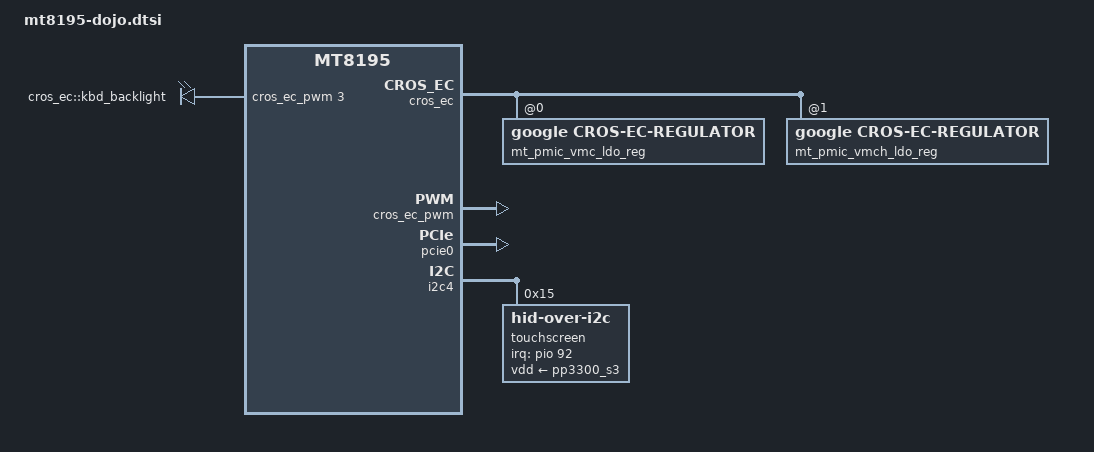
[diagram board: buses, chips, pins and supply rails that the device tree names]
// SPDX-License-Identifier: (GPL-2.0 OR MIT)
/*
 * Copyright (C) 2022 MediaTek Inc.
 */

/ {
	pwmleds {
		compatible = "pwm-leds";
		keyboard_backlight: keyboard-backlight {
			label = "cros_ec::kbd_backlight";
			pwms = <&cros_ec_pwm 3>;
			max-brightness = <1023>;
		};
	};
};

&cros_ec {
	mt_pmic_vmc_ldo_reg: regulator@0 {
		compatible = "google,cros-ec-regulator";
		regulator-min-microvolt = <1200000>;
		regulator-max-microvolt = <3600000>;
		reg = <0>;
	};
	mt_pmic_vmch_ldo_reg: regulator@1 {
		compatible = "google,cros-ec-regulator";
		regulator-min-microvolt = <2700000>;
		regulator-max-microvolt = <3600000>;
		reg = <1>;
	};
};

&cros_ec_pwm {
	status = "okay";
};

&keyboard_controller {
	function-row-physmap = <
		MATRIX_KEY(0x00, 0x02, 0)	/* T1 */
		MATRIX_KEY(0x03, 0x02, 0)	/* T2 */
		MATRIX_KEY(0x02, 0x02, 0)	/* T3 */
		MATRIX_KEY(0x01, 0x02, 0)	/* T4 */
		MATRIX_KEY(0x03, 0x04, 0)	/* T5 */
		MATRIX_KEY(0x02, 0x04, 0)	/* T6 */
		MATRIX_KEY(0x01, 0x04, 0)	/* T7 */
		MATRIX_KEY(0x02, 0x09, 0)	/* T8 */
		MATRIX_KEY(0x01, 0x09, 0)	/* T9 */
		MATRIX_KEY(0x00, 0x04, 0)	/* T10 */
	>;
	linux,keymap = <
		MATRIX_KEY(0x00, 0x02, KEY_BACK)
		MATRIX_KEY(0x03, 0x02, KEY_REFRESH)
		MATRIX_KEY(0x02, 0x02, KEY_ZOOM)
		MATRIX_KEY(0x01, 0x02, KEY_SCALE)
		MATRIX_KEY(0x03, 0x04, KEY_SYSRQ)
		MATRIX_KEY(0x02, 0x04, KEY_BRIGHTNESSDOWN)
		MATRIX_KEY(0x01, 0x04, KEY_BRIGHTNESSUP)
		MATRIX_KEY(0x02, 0x09, KEY_MUTE)
		MATRIX_KEY(0x01, 0x09, KEY_VOLUMEDOWN)
		MATRIX_KEY(0x00, 0x04, KEY_VOLUMEUP)

		CROS_STD_MAIN_KEYMAP
	>;
};

&pcie0 {
	status = "okay";
};

&pio_default{
	low_power_pu_pd_pins {
		pinmux = <PINMUX_GPIO8__FUNC_GPIO8>,
			 <PINMUX_GPIO9__FUNC_GPIO9>,
			 <PINMUX_GPIO25__FUNC_GPIO25>,
			 <PINMUX_GPIO26__FUNC_GPIO26>,
			 <PINMUX_GPIO46__FUNC_GPIO46>,
			 <PINMUX_GPIO47__FUNC_GPIO47>,
			 <PINMUX_GPIO48__FUNC_GPIO48>,
			 <PINMUX_GPIO65__FUNC_GPIO65>,
			 <PINMUX_GPIO66__FUNC_GPIO66>,
			 <PINMUX_GPIO67__FUNC_GPIO67>,
			 <PINMUX_GPIO68__FUNC_GPIO68>,
			 <PINMUX_GPIO128__FUNC_GPIO128>,
			 <PINMUX_GPIO129__FUNC_GPIO129>;
		input-enable;
		bias-pull-down;
	};
};

&i2c4 {
	/delete-node/ touchscreen@10;

	touchscreen: touchscreen@15 {
		compatible = "hid-over-i2c";
		reg = <0x15>;
		interrupt-parent = <&pio>;
		interrupts = <92 IRQ_TYPE_LEVEL_LOW>;
		interrupts-extended = <&pio 92 IRQ_TYPE_LEVEL_LOW>;

		pinctrl-names = "default";
		pinctrl-0 = <&touchscreen_pins>;

		post-power-on-delay-ms = <10>;
		hid-descr-addr = <0x0001>;

		vdd-supply = <&pp3300_s3>;
	};
};
